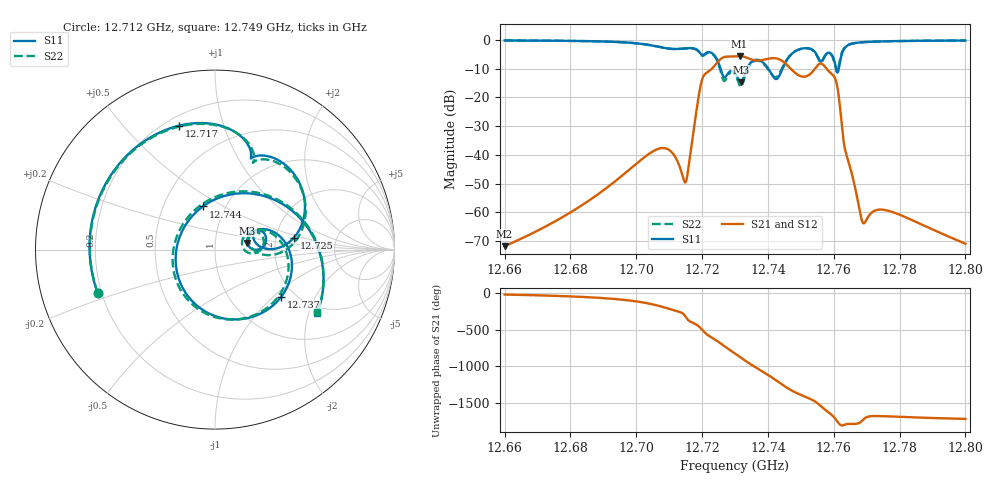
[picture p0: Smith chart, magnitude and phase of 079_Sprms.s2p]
! TOUCHSTONE file generated by CST MICROWAVE STUDIO
! Date and time: Wed Jul 31 14:42:26 2024
! Project name: WaveGuide_BPF-Ver4.1_U-shape_Ku_T3_C4_CWA_2.cst
! Parameters = {cavity_h=16; cavity_l0=10; cavity_l1=15.1964; cavity_l2=16.8447; cavity_l3=17.0733; cavity_l4=17.2248; cavity_l5=17.1056; cavity_l6=17.5656; cavity_r=2.5; cavity_screw_l=0.5; cavity_screw_r=1.5; cavity_w=8; iris_h00=0; iris_h01=8.809; iris_h112=0; iris_h12=5.6073; iris_h211=3.6586; i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
! Header version: 2018
! Port assignment regex: !\s*Touchstone port\s*([0-9]+)\s*=\s*(CST MWS port|CST DS port)\s*([0-9]+|Zmin|Zmax)\s*\(\"(.*)\"\)(\s*mode\s*([0-9]+))?.*
! Touchstone port assignment:
! Touchstone port 1 = CST MWS port 1 ("")
! Touchstone port 2 = CST MWS port 2 ("")
# GHz S RI R 50
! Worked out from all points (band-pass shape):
!   5001 points, 12.66 GHz to 12.8 GHz, reference 50 ohm
!   highest |S21| = -5.61 dB at 12.731 GHz (marker M1); lowest = -71.8 dB at 12.66 GHz (marker M2)
!   |S21| within 3 dB of the highest: 12.72404 GHz to 12.74572 GHz (21.68 MHz wide, 0.17 % of centre); 12.75529 GHz to 12.75679 GHz (1.499 MHz wide, 0.0117 % of centre)
!   lowest |S11| = -14.7 dB at 12.732 GHz (marker M3), VSWR 1.45, Z = 71.8 + j5.45 ohm
!   |S11| at or under -10 dB: 12.7256 GHz to 12.73362 GHz (8.02 MHz wide, 0.063 % of centre); 12.74011 GHz to 12.74444 GHz (4.332 MHz wide, 0.034 % of centre); 12.76074 GHz to 12.76153 GHz (790.5 kHz wide, 0.00619 % of centre)
!   |S22| runs from -16.3 to -0.2 dB; largest |S21 - S12| = 1e-09
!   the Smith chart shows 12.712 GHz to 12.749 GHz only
!   S11 on the Smith chart (normalised r, x): 12.712 GHz: 0.18, -0.17; 12.717 GHz: 0.25, +0.72; 12.725 GHz: 2.52, +0.41; 12.737 GHz: 1.69, -1.13; 12.744 GHz: 0.78, +0.40; 12.749 GHz: 1.77, -2.28
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12.66  0.292 0.9373  0.00024 -9.44e-05  0.00024 -9.44e-05  0.2963 0.9359
12.68335  0.7049 0.6507  0.000783 -0.00106  0.000783 -0.00106  0.7093 0.6458
12.69884  0.8774 -0.1418  -0.00186 -0.00586  -0.00186 -0.00586  0.8763 -0.1496
12.70668  0.1423 -0.7517  -0.0127 -0.00132  -0.0127 -0.00132  0.1386 -0.7535
12.71158  -0.6533 -0.2432  -0.00525 0.0082  -0.00525 0.0082  -0.6534 -0.2406
12.71491  -0.5544 0.4514  0.00249 0.00217  0.00249 0.00217  -0.5449 0.4571
12.71701  -0.2017 0.6902  0.0135 -0.0128  0.0135 -0.0128  -0.1809 0.6896
12.72009  0.1993 0.5081  -0.1773 -0.1155  -0.1773 -0.1155  0.2111 0.4835
12.72465  0.4392 0.0661  0.1899 0.3621  0.1899 0.3621  0.4255 0.023
12.72706  0.214 0.0749  0.4923 -0.1356  0.4923 -0.1356  0.1887 0.0622
12.73  0.2675 0.0163  -0.1415 -0.4985  -0.1415 -0.4985  0.2509 -0.00482
12.73137  0.1916 0.0146  -0.4487 -0.2714  -0.4487 -0.2714  0.164 -0.00221
12.73176  0.1805 0.0367  -0.4962 -0.1664  -0.4962 -0.1664  0.1515 0.0235
12.73675  0.3679 -0.2639  0.2733 0.3441  0.2733 0.3441  0.3332 -0.2851
12.74114  -0.2071 -0.1448  0.1508 -0.459  0.1508 -0.459  -0.2342 -0.0925
12.74364  -0.0677 0.2403  -0.3925 -0.2318  -0.3925 -0.2318  -0.0524 0.266
12.74904  0.5698 -0.3546  0.0976 0.2288  0.0976 0.2288  0.5697 -0.3501
12.75335  -0.0307 -0.6852  0.2592 -0.0837  0.2592 -0.0837  -0.0418 -0.6783
12.76049  -0.2284 -0.2861  0.0341 0.2053  0.0341 0.2053  -0.1969 -0.2765
12.76878  -0.6147 -0.6774  0.000316 0.000588  0.000316 0.000588  -0.6229 -0.6712
12.77668  -0.8801 -0.3619  -0.000436 0.000969  -0.000436 0.000969  -0.8835 -0.3545
12.8  -0.9546 0.2182  4.85e-05 0.000281  4.85e-05 0.000281  -0.9535 0.2237
